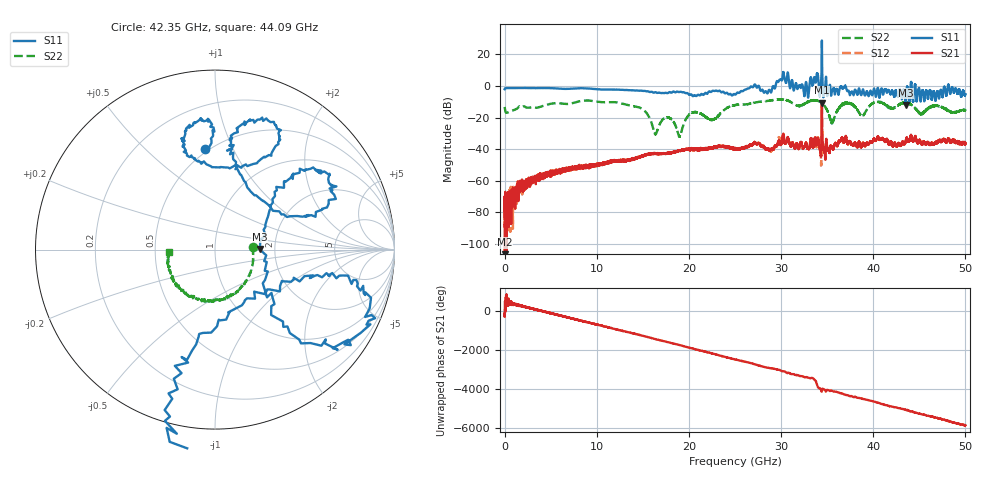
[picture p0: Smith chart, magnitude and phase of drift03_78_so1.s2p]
!Created with skrf (http://scikit-rf.org).
# Hz S RI R 50.0
!freq ReS11 ImS11 ReS21 ImS21 ReS12 ImS12 ReS22 ImS22
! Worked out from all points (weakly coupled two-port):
!   10000 points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, 5.3 MHz to 50 GHz, reference 50 ohm
!   highest |S21| = -10.56 dB at 34.43 GHz (marker M1); lowest = -113.6 dB at 35.3 MHz (marker M2)
!   lowest |S11| = -12.0 dB at 43.52 GHz (marker M3), VSWR 1.67, Z = 83.4 + j0.671 ohm
!   |S11| at or under -10 dB: 43.48397 GHz to 43.54438 GHz (60.41 MHz wide, 0.139 % of centre); 44.31243 GHz to 44.31644 GHz (4.009 MHz wide, 0.00905 % of centre); 44.32795 GHz to 44.33054 GHz (2.583 MHz wide, 0.00583 % of centre)
!   |S22| runs from -32.2 to -8.4 dB; largest |S21 - S12| = 0.091
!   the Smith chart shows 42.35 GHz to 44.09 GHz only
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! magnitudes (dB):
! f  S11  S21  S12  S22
! 5.3 MHz  -2.1  -70.7  -69.7  -13.3
! 35.3 MHz  -1.7  -113.6  -73.3  -14.3
! 3.11 GHz  -1.4  -58.8  -58.7  -13.5
! 8.34 GHz  -1.5  -51.2  -51.6  -9.5
! 14.6 GHz  -3.1  -44.9  -45.1  -13.6
! 16.67 GHz  -4.4  -42.8  -43.0  -26.5
! 17.79 GHz  -4.3  -42.3  -42.4  -20.0
! 19 GHz  -3.9  -41.0  -41.0  -32.2
! 20.32 GHz  -5.8  -40.1  -40.4  -17.1
! 22.57 GHz  -3.1  -38.8  -38.9  -21.4
! 25.01 GHz  -5.5  -39.8  -39.7  -12.2
! 28.72 GHz  -2.5  -40.7  -40.3  -9.4
! 30.14 GHz  4.4  -33.9  -34.0  -8.5
! 33.34 GHz  2.5  -34.8  -35.1  -9.3
! 34.43 GHz  28.7  -10.6  -12.6  -10.8
! 35.54 GHz  -3.1  -39.0  -38.8  -23.0
! 36.97 GHz  0.1  -32.4  -32.9  -10.8
! 38.79 GHz  -4.4  -37.8  -37.6  -19.0
! 40.2 GHz  -4.1  -34.1  -34.6  -10.4
! 41.67 GHz  -2.9  -36.7  -36.7  -13.4
! 43.52 GHz  -12.0  -35.2  -35.2  -10.8
! 50 GHz  -5.3  -36.2  -36.3  -15.6
